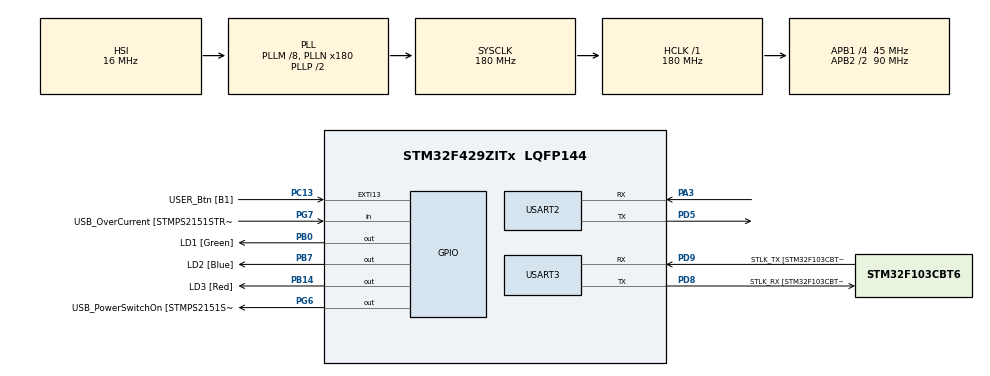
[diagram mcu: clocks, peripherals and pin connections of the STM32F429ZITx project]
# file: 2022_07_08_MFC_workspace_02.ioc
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Mcu.Family=STM32F4
Mcu.Name=STM32F429ZITx
Mcu.Package=LQFP144
NVIC.PriorityGroup=NVIC_PRIORITYGROUP_4
NVIC.USART2_IRQn=true\:0\:0\:false\:true\:true\:2\:true\:true\:true
NVIC.USART3_IRQn=true\:0\:0\:false\:true\:true\:1\:true\:true\:true
PA1.GPIO_Label=RMII_REF_CLK [LAN8742A-CZ-TR_REFCLK0]
PA1.Signal=ETH_REF_CLK
PA10.GPIO_Label=USB_ID
PA10.Signal=USB_OTG_FS_ID
PA11.GPIO_Label=USB_DM
PA11.Signal=USB_OTG_FS_DM
PA12.GPIO_Label=USB_DP
PA12.Signal=USB_OTG_FS_DP
PA13.GPIO_Label=TMS
PA13.Mode=Serial_Wire
PA13.Signal=SYS_JTMS-SWDIO
PA14.GPIO_Label=TCK
PA14.Mode=Serial_Wire
PA14.Signal=SYS_JTCK-SWCLK
PA2.GPIO_Label=RMII_MDIO [LAN8742A-CZ-TR_MDIO]
PA2.Signal=ETH_MDIO
PA3.Mode=Asynchronous
PA3.Signal=USART2_RX
PA7.GPIO_Label=RMII_CRS_DV [LAN8742A-CZ-TR_CRS_DV]
PA7.Signal=ETH_CRS_DV
PA8.GPIO_Label=USB_SOF [TP1]
PA8.Signal=USB_OTG_FS_SOF
PA9.GPIO_Label=USB_VBUS
PA9.Signal=USB_OTG_FS_VBUS
PB0.GPIO_Label=LD1 [Green]
PB0.Signal=GPIO_Output
PB13.GPIO_Label=RMII_TXD1 [LAN8742A-CZ-TR_TXD1]
PB13.Signal=ETH_TXD1
PB14.GPIO_Label=LD3 [Red]
PB14.Signal=GPIO_Output
PB7.GPIO_Label=LD2 [Blue]
PB7.Signal=GPIO_Output
PC1.GPIO_Label=RMII_MDC [LAN8742A-CZ-TR_MDC]
PC1.Signal=ETH_MDC
PC13.GPIO_Label=USER_Btn [B1]
PC13.Signal=GPXTI13
PC14/OSC32_IN.Mode=LSE-External-Oscillator
PC14/OSC32_IN.Signal=RCC_OSC32_IN
PC15/OSC32_OUT.Mode=LSE-External-Oscillator
PC15/OSC32_OUT.Signal=RCC_OSC32_OUT
PC4.GPIO_Label=RMII_RXD0 [LAN8742A-CZ-TR_RXD0]
PC4.Signal=ETH_RXD0
PC5.GPIO_Label=RMII_RXD1 [LAN8742A-CZ-TR_RXD1]
PC5.Signal=ETH_RXD1
PD5.Mode=Asynchronous
PD5.Signal=USART2_TX
PD8.GPIO_Label=STLK_RX [STM32F103CBT6_PA3]
PD8.Mode=Asynchronous
PD8.Signal=USART3_TX
PD9.GPIO_Label=STLK_TX [STM32F103CBT6_PA2]
PD9.Mode=Asynchronous
PD9.Signal=USART3_RX
PG11.GPIO_Label=RMII_TX_EN [LAN8742A-CZ-TR_TXEN]
PG11.Signal=ETH_TX_EN
PG13.GPIO_Label=RMII_TXD0 [LAN8742A-CZ-TR_TXD0]
PG13.Signal=ETH_TXD0
PG6.GPIO_Label=USB_PowerSwitchOn [STMPS2151STR_EN]
PG6.Signal=GPIO_Output
PG7.GPIO_Label=USB_OverCurrent [STMPS2151STR_FAULT]
PG7.Signal=GPIO_Input
PH0/OSC_IN.GPIO_Label=MCO [STM32F103CBT6_PA8]
PH0/OSC_IN.Signal=RCC_OSC_IN
ProjectManager.HeapSize=0x200
ProjectManager.StackSize=0x400
ProjectManager.TargetToolchain=STM32CubeIDE
RCC.48MHZClocksFreq_Value=51428571.428571425
RCC.AHBFreq_Value=180000000
RCC.APB1CLKDivider=RCC_HCLK_DIV4
RCC.APB1Freq_Value=45000000
RCC.APB1TimFreq_Value=90000000
RCC.APB2CLKDivider=RCC_HCLK_DIV2
RCC.APB2Freq_Value=90000000
RCC.APB2TimFreq_Value=180000000
RCC.CortexFreq_Value=180000000
RCC.HCLKFreq_Value=180000000
RCC.HSE_VALUE=8000000
RCC.HSI_VALUE=16000000
RCC.PLLM=8
RCC.PLLMUL=RCC_PLL_MUL9
RCC.PLLN=180
RCC.PLLQ=7
RCC.PRESCALERUSB=RCC_USBCLKSOURCE_PLL_DIV1_5
RCC.RCC_RTC_Clock_Source=RCC_RTCCLKSOURCE_LSE
RCC.RCC_RTC_Clock_SourceVirtual=RCC_RTCCLKSOURCE_LSE
RCC.SYSCLKFreq_VALUE=180000000
RCC.SYSCLKSource=RCC_SYSCLKSOURCE_PLLCLK
RCC.SYSCLKSourceVirtual=RCC_SYSCLKSOURCE_PLLCLK
RCC.USBFreq_Value=48000000
RCC.VCOOutputFreq_Value=360000000
USART2.VirtualMode=VM_ASYNC
USART3.VirtualMode=VM_ASYNC
VP_RTC_VS_RTC_Activate.Mode=RTC_Enabled
board=NUCLEO-F429ZI

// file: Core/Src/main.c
/* USER CODE BEGIN Header */
/**
  ******************************************************************************
  * @file           : main.c
  * @brief          : Main program body
  ******************************************************************************
  * @attention
  *
  * Copyright (c) 2022 STMicroelectronics.
  * All rights reserved.
  *
  * This software is licensed under terms that can be found in the LICENSE file
  * in the root directory of this software component.
  * If no LICENSE file comes with this software, it is provided AS-IS.
  *
  ******************************************************************************
  */
/* USER CODE END Header */
#include "main.h"
#include "rtc.h"
#include "usart.h"
#include "gpio.h"

/* USER CODE BEGIN Includes */
#include "stdio.h"
#include "string.h"
/* USER CODE END Includes */

/* USER CODE BEGIN PV */
uint8_t rx;
char rx_buf[20];
char tx_buf[20];
int bufindex = 0;

int flag = 0;
uint8_t led1 = 0;
uint8_t led2 = 0;
uint8_t led3 = 0;
/* USER CODE END PV */

void SystemClock_Config(void);
static void MX_NVIC_Init(void);

/* USER CODE BEGIN 0 */
int __io_puchar(int ch)
{
	HAL_UART_Transmit(&huart3, (uint8_t*)ch, 1, 1);
	return ch;
}
/* USER CODE END 0 */

int main(void)
{

  /* MCU Configuration--------------------------------------------------------*/

  /* Reset of all peripherals, Initializes the Flash interface and the Systick. */
  HAL_Init();

  /* Configure the system clock */
  SystemClock_Config();

  /* Initialize all configured peripherals */
  MX_GPIO_Init();
  MX_USART3_UART_Init();
  MX_RTC_Init();
  MX_USART2_UART_Init();

  /* Initialize interrupts */
  MX_NVIC_Init();
  /* USER CODE BEGIN 2 */
  memset(rx_buf, 0, sizeof(rx_buf));
  HAL_UART_Receive_IT(&huart3, &rx, 1);

  /* USER CODE END 2 */

  /* Infinite loop */
  while (1)
  {

    /* USER CODE BEGIN 3 */
	  if(flag == 1)
	  {
		  if(rx == '1')
		  {
			  HAL_GPIO_TogglePin(GPIOB, GPIO_PIN_0);
		  }

		  if(rx == '2') // '' 이게 맞음
		  {
			  HAL_GPIO_TogglePin(GPIOB, GPIO_PIN_7);
		  }

			  HAL_GPIO_TogglePin(GPIOB, GPIO_PIN_14);

		  led1 = HAL_GPIO_ReadPin(GPIOB, GPIO_PIN_0);
		  led2 = HAL_GPIO_ReadPin(GPIOB, GPIO_PIN_7);
		  led3 = HAL_GPIO_ReadPin(GPIOB, GPIO_PIN_14);
		  sprintf(tx_buf, "<LED3%d%d%d>\n", led1, led2, led3);
		  memset(tx_buf, 0, sizeof(tx_buf));
		  memset(rx_buf, 0, sizeof(rx_buf));
		  flag = 0;
	  }
  }
  /* USER CODE END 3 */
}

void SystemClock_Config(void)
{
  RCC_OscInitTypeDef RCC_OscInitStruct = {0};
  RCC_ClkInitTypeDef RCC_ClkInitStruct = {0};

  /** Configure the main internal regulator output voltage
  */
  __HAL_RCC_PWR_CLK_ENABLE();
  __HAL_PWR_VOLTAGESCALING_CONFIG(PWR_REGULATOR_VOLTAGE_SCALE1);

  /** Initializes the RCC Oscillators according to the specified parameters
  * in the RCC_OscInitTypeDef structure.
  */
  RCC_OscInitStruct.OscillatorType = RCC_OSCILLATORTYPE_HSI|RCC_OSCILLATORTYPE_LSE;
  RCC_OscInitStruct.LSEState = RCC_LSE_ON;
  RCC_OscInitStruct.HSIState = RCC_HSI_ON;
  RCC_OscInitStruct.HSICalibrationValue = RCC_HSICALIBRATION_DEFAULT;
  RCC_OscInitStruct.PLL.PLLState = RCC_PLL_ON;
  RCC_OscInitStruct.PLL.PLLSource = RCC_PLLSOURCE_HSI;
  RCC_OscInitStruct.PLL.PLLM = 8;
  RCC_OscInitStruct.PLL.PLLN = 180;
  RCC_OscInitStruct.PLL.PLLP = RCC_PLLP_DIV2;
  RCC_OscInitStruct.PLL.PLLQ = 7;
  if (HAL_RCC_OscConfig(&RCC_OscInitStruct) != HAL_OK)
  {
    Error_Handler();
  }

  /** Activate the Over-Drive mode
  */
  if (HAL_PWREx_EnableOverDrive() != HAL_OK)
  {
    Error_Handler();
  }

  /** Initializes the CPU, AHB and APB buses clocks
  */
  RCC_ClkInitStruct.ClockType = RCC_CLOCKTYPE_HCLK|RCC_CLOCKTYPE_SYSCLK
                              |RCC_CLOCKTYPE_PCLK1|RCC_CLOCKTYPE_PCLK2;
  RCC_ClkInitStruct.SYSCLKSource = RCC_SYSCLKSOURCE_PLLCLK;
  RCC_ClkInitStruct.AHBCLKDivider = RCC_SYSCLK_DIV1;
  RCC_ClkInitStruct.APB1CLKDivider = RCC_HCLK_DIV4;
  RCC_ClkInitStruct.APB2CLKDivider = RCC_HCLK_DIV2;

  if (HAL_RCC_ClockConfig(&RCC_ClkInitStruct, FLASH_LATENCY_5) != HAL_OK)
  {
    Error_Handler();
  }
}

/**
  * @brief NVIC Configuration.
  * @retval None
  */
static void MX_NVIC_Init(void)
{
  /* USART3_IRQn interrupt configuration */
  HAL_NVIC_SetPriority(USART3_IRQn, 0, 0);
  HAL_NVIC_EnableIRQ(USART3_IRQn);
  /* USART2_IRQn interrupt configuration */
  HAL_NVIC_SetPriority(USART2_IRQn, 0, 0);
  HAL_NVIC_EnableIRQ(USART2_IRQn);
}

/* USER CODE BEGIN 4 */
void HAL_UART_RxCpltCallback(UART_HandleTypeDef *huart) {
	if (huart->Instance == USART3) {
		HAL_UART_Transmit(&huart3, (uint8_t*) tx_buf, sizeof(tx_buf), 100);
		flag = 1;
		HAL_UART_Receive_IT(&huart3, &rx, 1);
	}
}
/*void HAL_UART_RxCpltCallback(UART_HandleTypeDef *huart) {
	if (huart->Instance == USART3) {
		HAL_UART_Transmit(&huart3, (uint8_t*) buf, sizeof(buf), 100);
		if (rx == '\n') {
			buf[bufindex] = 0;
			char *p;
			if ((p = strstr((char*) buf, "<LED3")) != 0) {
				led1 = *(p + 5) - '0';
				led2 = *(p + 6) - '0';
				led3 = *(p + 7) - '0';
				flag = 1;
			}
			memset(buf, 0, sizeof(buf));
			bufindex = 0;
		} else {
			if (bufindex < 20)
				buf[bufindex++] = rx;
		}
		HAL_UART_Receive_IT(&huart3, rx, 1);
	}
}*/
/*
void HAL_UART_RxCpltCallback(UART_HandleTypeDef *huart)
{
	if(huart -> Instance == USART3)
	{
		if(rx >= 'A' && rx <= 'Z')
			rx += 32;
		else if(rx >= 'a' && rx <= 'z')
			rx -= 32;
		HAL_UART_Transmit(&huart3, &rx, 1, 100);
	}
	HAL_UART_Receive_IT(&huart3, &rx, 1);
}*/
/* USER CODE END 4 */

void Error_Handler(void)
{
  __disable_irq();
  while (1)
  {
  }
}
